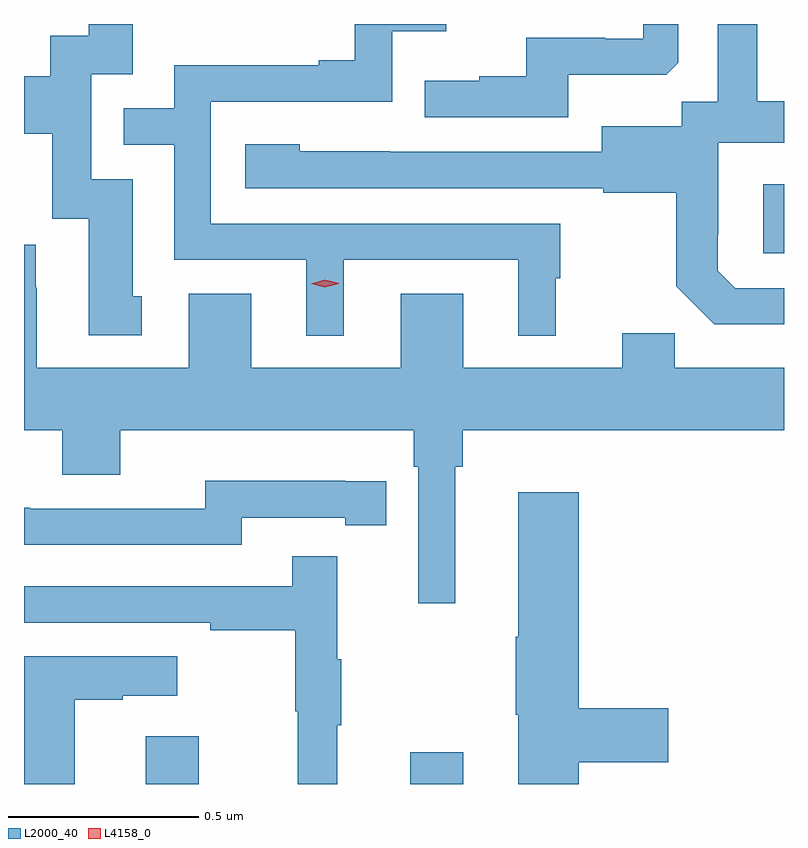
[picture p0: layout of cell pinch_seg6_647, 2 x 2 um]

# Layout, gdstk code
import gdstk
lib = gdstk.Library(unit=1e-6, precision=1e-09)
def R(c, l, rs):  # rectangles x0, y0, x1, y1
    for r in rs: c.add(gdstk.rectangle(r[:2], r[2:], *l))
def P(c, l, *ps):  # polygons
    for p in ps: c.add(gdstk.Polygon(p, *l))
L2000_40 = (2000, 40)
L4158_0 = (4158, 0)

pinch_seg6_647 = lib.new_cell('pinch_seg6_647')
R(pinch_seg6_647, L2000_40, [(384.581,969.049,384.721,969.175), (385.277,969.049,385.417,969.133), (386.207,970.446,386.261,970.627)])
P(pinch_seg6_647, L2000_40, [(386.261,970.353),(386.133,970.353),(386.086,970.4),(386.086,970.495),(386.088,970.495),(386.088,970.736),(386.261,970.736),(386.261,970.846),(386.191,970.846),(386.191,971.049),(386.087,971.049),(386.087,970.844),(385.992,970.844),(385.992,970.78),(385.781,970.78),(385.781,970.713),(385.223,970.713),(385.223,970.714),(384.987,970.714),(384.987,970.732),(384.843,970.732),(384.843,970.617),(385.785,970.617),(385.785,970.605),(385.977,970.605),(385.977,970.359),(386.077,970.259),(386.261,970.259)],
  [(385.102,970.428),(385.562,970.428),(385.562,970.229),(385.66,970.229),(385.66,970.38),(385.672,970.38),(385.672,970.524),(384.753,970.524),(384.753,970.845),(385.23,970.845),(385.23,971.03),(385.372,971.03),(385.372,971.049),(385.132,971.049),(385.132,970.954),(385.037,970.954),(385.037,970.941),(384.657,970.941),(384.657,970.827),(384.523,970.827),(384.523,970.731),(384.657,970.731),(384.657,970.428),(385.004,970.428),(385.004,970.229),(385.102,970.229)],
  [(385.693,970.916),(385.951,970.916),(385.983,970.947),(385.983,971.049),(385.89,971.049),(385.89,971.01),(385.79,971.01),(385.79,971.013),(385.583,971.013),(385.583,970.912),(385.459,970.912),(385.459,970.9),(385.315,970.9),(385.315,970.803),(385.693,970.803)],
  [(384.571,970.332),(384.547,970.332),(384.547,970.641),(384.438,970.641),(384.438,970.917),(384.547,970.917),(384.547,971.049),(384.431,971.049),(384.431,971.018),(384.33,971.018),(384.33,970.912),(384.261,970.912),(384.261,970.76),(384.335,970.76),(384.335,970.536),(384.431,970.536),(384.431,970.23),(384.571,970.23)],
  [(385.286,969.884),(385.299,969.884),(385.299,969.525),(385.396,969.525),(385.396,969.884),(385.415,969.884),(385.415,969.98),(386.261,969.98),(386.261,970.144),(385.973,970.144),(385.973,970.235),(385.835,970.235),(385.835,970.144),(385.417,970.144),(385.417,970.339),(385.253,970.339),(385.253,970.144),(384.859,970.144),(384.859,970.339),(384.695,970.339),(384.695,970.144),(384.295,970.144),(384.295,970.355),(384.292,970.355),(384.292,970.468),(384.261,970.468),(384.261,969.98),(384.362,969.98),(384.362,969.863),(384.514,969.863),(384.514,969.98),(385.286,969.98)],
  [(384.834,969.75),(385.106,969.75),(385.106,969.73),(385.214,969.73),(385.214,969.846),(385.106,969.846),(385.106,969.847),(384.738,969.847),(384.738,969.774),(384.278,969.774),(384.278,969.776),(384.261,969.776),(384.261,969.678),(384.834,969.678)],
  [(385.721,969.106),(385.957,969.106),(385.957,969.248),(385.721,969.248),(385.721,969.817),(385.562,969.817),(385.562,969.437),(385.555,969.437),(385.555,969.231),(385.562,969.231),(385.562,969.049),(385.721,969.049)],
  [(385.085,969.203),(385.096,969.203),(385.096,969.377),(385.085,969.377),(385.085,969.649),(384.967,969.649),(384.967,969.57),(384.261,969.57),(384.261,969.474),(384.751,969.474),(384.751,969.454),(384.975,969.454),(384.975,969.24),(384.982,969.24),(384.982,969.049),(385.085,969.049)],
  [(384.394,969.271),(384.521,969.271),(384.521,969.281),(384.664,969.281),(384.664,969.385),(384.261,969.385),(384.261,969.049),(384.394,969.049)])
P(pinch_seg6_647, L4158_0, [(385.053,970.356),(385.017,970.365),(385.017,970.365),(385.017,970.366),(385.053,970.376),(385.089,970.367),(385.089,970.367),(385.089,970.366)])

lib.write_gds('pinch_seg6_647.gds')
